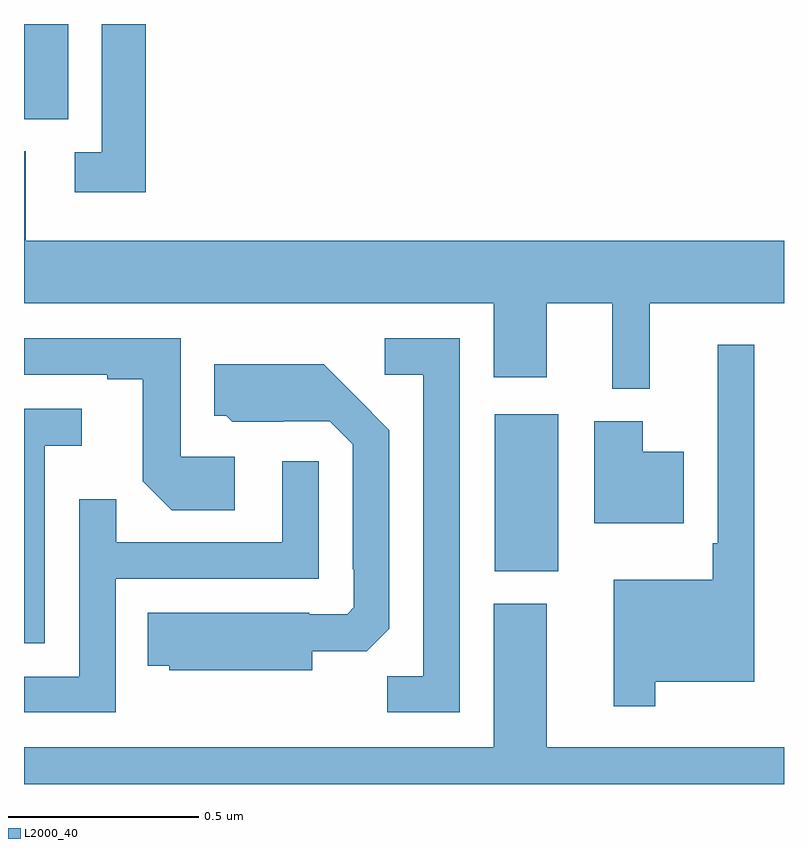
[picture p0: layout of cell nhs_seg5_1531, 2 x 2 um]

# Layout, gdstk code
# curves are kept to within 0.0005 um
import gdstk
lib = gdstk.Library(unit=1e-6, precision=1e-09)
def R(c, l, rs):  # rectangles x0, y0, x1, y1
    for r in rs: c.add(gdstk.rectangle(r[:2], r[2:], *l))
def P(c, l, *ps):  # polygons
    for p in ps: c.add(gdstk.Polygon(p, *l))
L2000_40 = (2000, 40)

nhs_seg5_1531 = lib.new_cell('nhs_seg5_1531')
R(nhs_seg5_1531, L2000_40, [(132.239,885.359,132.406,885.772), (131,886.549,131.116,886.799)])
P(nhs_seg5_1531, L2000_40, [(131.321,886.799),(131.205,886.799),(131.205,886.461),(131.133,886.461),(131.133,886.356),(131.321,886.356)],
  [(132.647,886.064),(133,886.064),(133,886.228),(131.005,886.228),(131.005,886.464),(131,886.464),(131,886.064),(132.236,886.064),(132.236,885.87),(132.376,885.87),(132.376,886.064),(132.548,886.064),(132.548,885.839),(132.647,885.839)],
  [(132.147,885.972),(131.949,885.972),(131.949,885.876),(132.051,885.876),(132.051,885.083),(131.956,885.083),(131.956,884.988),(132.147,884.988)],
  [(131.554,885.66),(131.412,885.66),(131.412,885.972),(131,885.972),(131,885.876),(131.219,885.876),(131.219,885.864),(131.313,885.864),(131.313,885.596),(131.389,885.52),(131.554,885.52)],
  [(132.661,885.068),(132.922,885.068),(132.922,885.955),(132.825,885.955),(132.825,885.433),(132.813,885.433),(132.813,885.337),(132.552,885.337),(132.552,885.003),(132.661,885.003)],
  [(131.758,885.149),(131.902,885.149),(131.961,885.208),(131.961,885.73),(131.789,885.904),(131.501,885.904),(131.501,885.768),(131.532,885.768),(131.548,885.752),(131.682,885.752),(131.682,885.753),(131.805,885.753),(131.865,885.693),(131.865,885.364),(131.868,885.364),(131.868,885.264),(131.85,885.246),(131.75,885.246),(131.75,885.25),(131.326,885.25),(131.326,885.11),(131.382,885.11),(131.382,885.098),(131.758,885.098)],
  [(131.055,885.689),(131.152,885.689),(131.152,885.786),(131,885.786),(131,885.169),(131.055,885.169)],
  [(132.736,885.673),(132.628,885.673),(132.628,885.754),(132.5,885.754),(132.5,885.485),(132.736,885.485)],
  [(131.241,885.339),(131.775,885.339),(131.775,885.649),(131.679,885.649),(131.679,885.435),(131.243,885.435),(131.243,885.548),(131.145,885.548),(131.145,885.081),(131,885.081),(131,884.988),(131.241,884.988)],
  [(133,884.896),(132.376,884.896),(132.376,885.274),(132.236,885.274),(132.236,884.896),(131,884.896),(131,884.799),(133,884.799)])

lib.write_gds('nhs_seg5_1531.gds')
